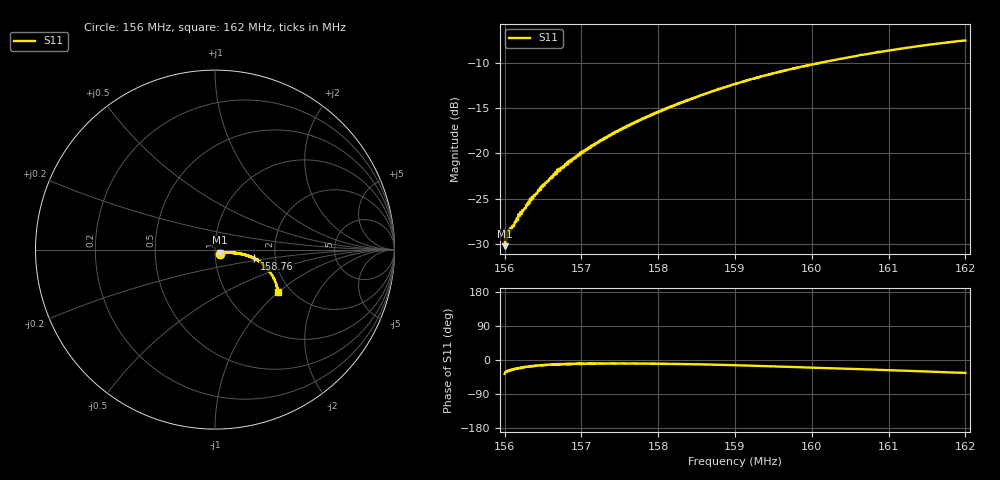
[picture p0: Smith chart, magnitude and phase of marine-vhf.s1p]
! Calibrated averaged scanner-service zoom
# Hz S RI R 50
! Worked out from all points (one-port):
!   1001 points, 156 MHz to 162 MHz, reference 50 ohm
!   lowest |S11| = -30.3 dB at 156.01 MHz (marker M1), VSWR 1.06, Z = 52.6 - j1.78 ohm
!   |S11| at or under -10 dB: start of sweep to 160.09 MHz; 160.1023 MHz to 160.105 MHz (2.679 kHz wide, 0.00167 % of centre)
!   S11 on the Smith chart (normalised r, x): 156 MHz: 1.06, -0.05; 158.76 MHz: 1.55, -0.16; 162 MHz: 1.72, -0.98
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1.56e8  0.0302 -0.0224
1.56006e8  0.0256 -0.0169
1.56018e8  0.0285 -0.0174
1.56036e8  0.0315 -0.0166
1.56042e8  0.0308 -0.0171
1.56096e8  0.0346 -0.017
1.56186e8  0.0426 -0.0159
1.5621e8  0.0441 -0.0157
1.56246e8  0.0455 -0.016
1.5636e8  0.0549 -0.015
1.56396e8  0.0563 -0.0154
1.5651e8  0.0654 -0.0148
1.56714e8  0.0801 -0.0145
1.5675e8  0.0811 -0.0165
1.56864e8  0.0905 -0.0151
1.57014e8  0.101 -0.0161
1.57272e8  0.1185 -0.0193
1.575e8  0.1341 -0.0209
1.57776e8  0.1524 -0.0244
1.5825e8  0.1835 -0.0359
1.5876e8  0.2197 -0.049
1.59e8  0.2352 -0.0573
1.59372e8  0.2585 -0.0746
1.5975e8  0.2799 -0.0927
1.605e8  0.3137 -0.1357
1.6125e8  0.338 -0.184
1.61688e8  0.3463 -0.2151
1.62e8  0.3491 -0.236
